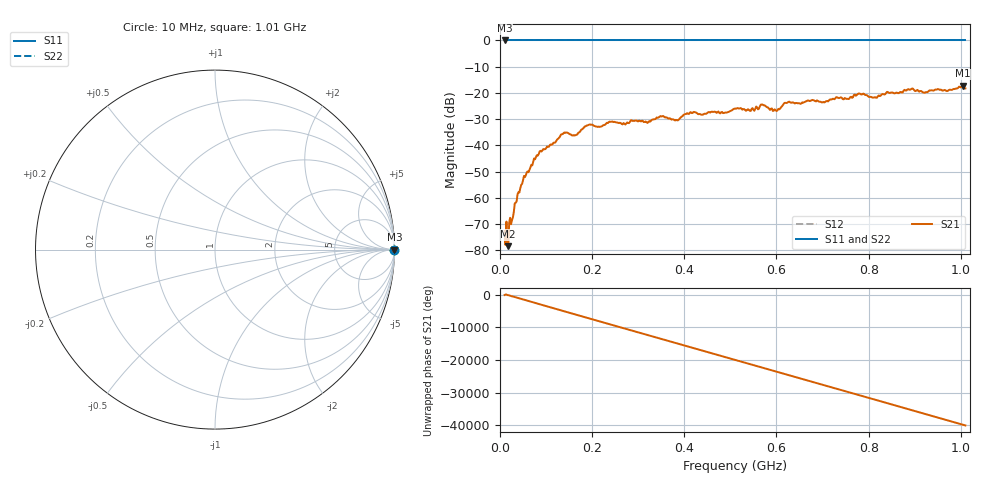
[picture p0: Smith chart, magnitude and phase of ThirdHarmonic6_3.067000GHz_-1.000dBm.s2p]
! 8/17/2025 8:57:21 AM
! C:\ANRITSUVNA\TEMP\TEMP.S2P
! CHANNEL.1
! TR.MEASUREMENT
! RAW.DATA
! RF.CORRECTION.OFF
! AVERAGING.OFF
! IF.BANDWIDTH: 5KHZ
! SWEEPTYPE:  FREQ.SWEEP(Linear)
! Reference Plane Port Info
! PORT:  PORT1  PORT2
! DISTANCE:  0  m  0  m
! TIME:  0  s  0  s
! PHASE.OFFSET:  0  deg.  0  deg.
! LOSS:  0  dB  0  dB
! REF.LOSS:  0  dB  0  dB
! REF.FREQ:  0  Hz  0  Hz
! Power Info
! POWER:  -20  dBm  -20  dBm
! EFF.POWER:  -20  dBm  -20  dBm
! SOURCE.ATTEN:  0  dB  0  dB
! TEST.ATTEN:  0  dB  0  dB
# GHZ S RI R 50.0
! FREQ.GHZ  S11RE  S11IM  S21RE  S21IM  S12RE  S12IM  S22RE  S22IM
!; PortSelection: Port_12
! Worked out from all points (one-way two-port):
!   501 points, 10 MHz to 1.01 GHz, reference 50 ohm
!   highest |S21| = -17.28 dB at 1.004 GHz (marker M1); lowest = -78.4 dB at 18 MHz (marker M2)
!   lowest |S11| = 0.0 dB at 10 MHz (marker M3)
!   |S11| at or under -10 dB: nowhere
!   |S22| runs from 0.0 to 0.0 dB; largest |S21 - S12| = 1.1
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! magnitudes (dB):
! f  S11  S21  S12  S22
! 10 MHz  0.0  -72.7  0.0  0.0
! 14 MHz  0.0  -69.0  0.0  0.0
! 18 MHz  0.0  -78.4  0.0  0.0
! 20 MHz  0.0  -69.4  0.0  0.0
! 36 MHz  0.0  -61.4  0.0  0.0
! 48 MHz  0.0  -54.6  0.0  0.0
! 78 MHz  0.0  -44.5  0.0  0.0
! 136 MHz  0.0  -35.7  0.0  0.0
! 162 MHz  0.0  -36.2  0.0  0.0
! 178 MHz  0.0  -33.9  0.0  0.0
! 344 MHz  0.0  -29.4  0.0  0.0
! 384 MHz  0.0  -30.4  0.0  0.0
! 416 MHz  0.0  -27.7  0.0  0.0
! 510 MHz  0.0  -26.0  0.0  0.0
! 570 MHz  0.0  -24.5  0.0  0.0
! 598 MHz  0.0  -26.5  0.0  0.0
! 622 MHz  0.0  -23.8  0.0  0.0
! 678 MHz  0.0  -22.6  0.0  0.0
! 814 MHz  0.0  -21.6  0.0  0.0
! 844 MHz  0.0  -20.0  0.0  0.0
! 1.004 GHz  0.0  -17.3  0.0  0.0
! 1.01 GHz  0.0  -18.3  0.0  0.0
